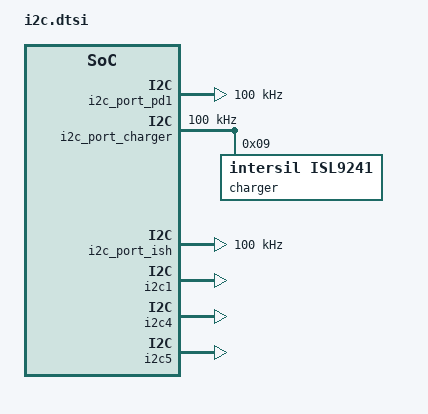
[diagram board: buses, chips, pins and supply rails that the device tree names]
/* Copyright 2025 The ChromiumOS Authors
 * Use of this source code is governed by a BSD-style license that can be
 * found in the LICENSE file.
 */
/ {
	named-i2c-ports {
		compatible = "named-i2c-ports";

		i2c_named_i2c_port_pd1: named_i2c_port_pd_aic1 {
			i2c-port = <&i2c_port_pd1>;
			enum-names = "I2C_PORT_PD";
		};
		i2c_named_i2c_port_charger: named_i2c_port_charger {
			i2c-port = <&i2c_port_charger>;
			enum-names = "I2C_PORT_BATTERY",
				"I2C_PORT_CHARGER",
				"I2C_PORT_PORT80";
		};
		i2c_named_i2c_port_ish: named_i2c_port_ish {
			i2c-port = <&i2c_port_ish>;
			enum-names = "I2C_PORT_ISH";
		};
	};
};

&i2c_port_pd1 {
	label = "I2C_PORT_PD";
	clock-frequency = <I2C_BITRATE_STANDARD>;
	data-hold-time = <10>;
};

&i2c_port_charger {
	label = "I2C_PORT_CHARGER";
	clock-frequency = <I2C_BITRATE_STANDARD>;

	charger: raa489@9 {
		compatible = "intersil,isl9241";
		status = "okay";
		reg = <0x9>;
	};
};

&i2c_port_ish {
	label = "I2C_PORT_ISH";
	clock-frequency = <I2C_BITRATE_STANDARD>;
};

&i2c1 {
	status = "okay";
	pinctrl-0 = <&i2c1_clk_gpc1_default
		&i2c1_data_gpc2_default>;
	pinctrl-names = "default";
};

&i2c4 {
	status = "okay";
	pinctrl-0 = <&i2c4_clk_gpe0_default
		&i2c4_data_gpe7_default>;
	pinctrl-names = "default";
};

&i2c5 {
	status = "okay";
	pinctrl-0 = <&i2c5_clk_gpe1_default
		&i2c5_data_gpe2_default>;
	pinctrl-names = "default";
};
